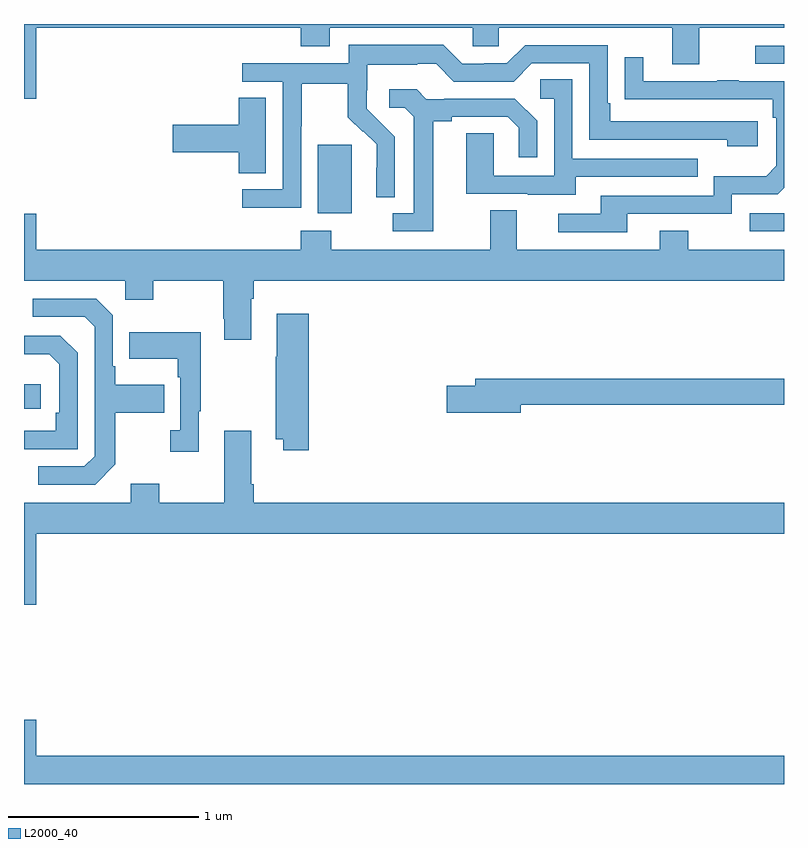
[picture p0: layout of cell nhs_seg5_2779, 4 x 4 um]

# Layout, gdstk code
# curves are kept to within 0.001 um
import gdstk
lib = gdstk.Library(unit=1e-6, precision=1e-09)
def R(c, l, rs):  # rectangles x0, y0, x1, y1
    for r in rs: c.add(gdstk.rectangle(r[:2], r[2:], *l))
def P(c, l, *ps):  # polygons
    for p in ps: c.add(gdstk.Polygon(p, *l))
L2000_40 = (2000, 40)

nhs_seg5_2779 = lib.new_cell('nhs_seg5_2779')
R(nhs_seg5_2779, L2000_40, [(273,834.774,273.088,834.904), (276.819,835.707,277,835.803), (274.547,835.802,274.726,836.163), (276.849,836.589,277,836.685)])
P(nhs_seg5_2779, L2000_40, [(273.064,836.78),(274.457,836.78),(274.457,836.681),(274.609,836.681),(274.609,836.78),(275.361,836.78),(275.361,836.682),(275.499,836.682),(275.499,836.78),(276.413,836.78),(276.413,836.586),(276.553,836.586),(276.553,836.78),(277,836.78),(277,836.799),(273,836.799),(273,836.406),(273.064,836.406)],
  [(274.458,836.26),(274.461,836.26),(274.461,836.484),(274.705,836.484),(274.705,836.309),(274.782,836.232),(274.785,836.235),(274.856,836.165),(274.856,836.042),(274.854,836.042),(274.854,835.888),(274.95,835.888),(274.95,836.206),(274.804,836.354),(274.804,836.451),(274.806,836.451),(274.806,836.585),(275.069,836.585),(275.069,836.589),(275.169,836.589),(275.262,836.496),(275.577,836.496),(275.673,836.592),(275.976,836.592),(275.976,836.19),(276.701,836.19),(276.701,836.156),(276.862,836.156),(276.862,836.286),(276.085,836.286),(276.085,836.383),(276.072,836.383),(276.072,836.688),(275.637,836.688),(275.541,836.592),(275.423,836.592),(275.423,836.589),(275.307,836.589),(275.207,836.689),(274.71,836.689),(274.71,836.592),(274.149,836.592),(274.149,836.496),(274.362,836.496),(274.362,835.929),(274.149,835.929),(274.149,835.831),(274.458,835.831)],
  [(276.175,835.8),(276.726,835.8),(276.726,835.902),(276.966,835.902),(277,835.936),(277,836.499),(276.761,836.499),(276.761,836.504),(276.649,836.504),(276.649,836.499),(276.259,836.499),(276.259,836.623),(276.163,836.623),(276.163,836.404),(276.94,836.403),(276.94,836.306),(276.96,836.306),(276.96,836.052),(276.907,835.999),(276.63,835.999),(276.63,835.896),(276.035,835.896),(276.035,835.8),(275.811,835.8),(275.811,835.704),(276.175,835.704)],
  [(275.905,835.995),(276.545,835.995),(276.545,836.091),(275.886,836.091),(275.886,836.507),(275.718,836.507),(275.718,836.406),(275.79,836.406),(275.79,836.001),(275.472,836.001),(275.472,836.225),(275.327,836.225),(275.327,835.905),(275.651,835.905),(275.651,835.901),(275.905,835.901)],
  [(275.155,836.288),(275.251,836.288),(275.251,836.31),(275.546,836.31),(275.603,836.253),(275.603,836.097),(275.7,836.097),(275.7,836.29),(275.584,836.406),(275.212,836.406),(275.212,836.403),(275.118,836.403),(275.066,836.455),(274.923,836.455),(274.923,836.358),(275.004,836.358),(275.051,836.311),(275.051,835.803),(274.941,835.803),(274.941,835.707),(275.155,835.707)],
  [(274.273,836.411),(274.13,836.411),(274.13,836.27),(273.783,836.27),(273.783,836.123),(274.13,836.123),(274.13,836.014),(274.273,836.014)],
  [(274.195,835.352),(274.208,835.352),(274.208,835.448),(277,835.448),(277,835.612),(276.495,835.612),(276.495,835.711),(276.347,835.711),(276.347,835.612),(275.593,835.612),(275.593,835.82),(275.453,835.82),(275.453,835.612),(274.617,835.612),(274.617,835.711),(274.457,835.711),(274.457,835.612),(273.064,835.612),(273.064,835.801),(273,835.801),(273,835.448),(273.534,835.448),(273.534,835.349),(273.681,835.349),(273.681,835.448),(274.048,835.448),(274.048,835.249),(274.055,835.249),(274.055,835.137),(274.195,835.137)],
  [(273.481,834.481),(273.481,834.754),(273.737,834.754),(273.737,834.901),(273.481,834.901),(273.481,834.997),(273.468,834.997),(273.468,835.266),(273.381,835.353),(273.045,835.353),(273.045,835.257),(273.321,835.257),(273.372,835.206),(273.372,834.525),(273.318,834.471),(273.075,834.471),(273.075,834.375),(273.375,834.375)],
  [(274.499,835.273),(274.331,835.273),(274.331,835.049),(274.324,835.049),(274.324,834.614),(274.364,834.614),(274.364,834.555),(274.499,834.555)],
  [(273.919,834.761),(273.931,834.761),(273.931,835.177),(273.553,835.177),(273.553,835.037),(273.81,835.037),(273.81,834.941),(273.822,834.941),(273.822,834.662),(273.771,834.662),(273.771,834.549),(273.919,834.549)],
  [(273.282,835.068),(273.192,835.158),(273,835.158),(273,835.061),(273.133,835.061),(273.186,835.008),(273.186,834.754),(273.166,834.754),(273.166,834.657),(273,834.657),(273,834.561),(273.282,834.561)],
  [(275.614,834.796),(277,834.796),(277,834.932),(275.375,834.932),(275.375,834.896),(275.226,834.896),(275.226,834.754),(275.614,834.754)],
  [(273.064,834.116),(277,834.116),(277,834.28),(274.208,834.28),(274.208,834.376),(274.195,834.376),(274.195,834.658),(274.055,834.658),(274.055,834.28),(273.711,834.28),(273.711,834.379),(273.563,834.379),(273.563,834.28),(273,834.28),(273,833.742),(273.064,833.742)],
  [(277,832.948),(273.064,832.948),(273.064,833.137),(273,833.137),(273,832.799),(277,832.799)])

lib.write_gds('nhs_seg5_2779.gds')
